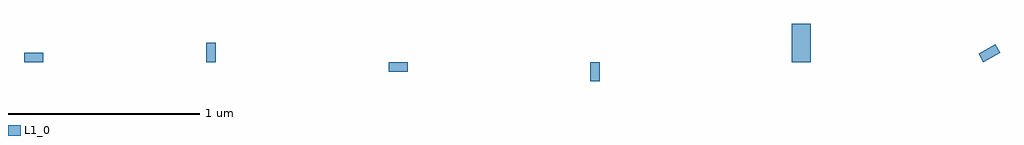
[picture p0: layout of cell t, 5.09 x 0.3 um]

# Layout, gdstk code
from math import pi, radians
import gdstk
lib = gdstk.Library(unit=1e-6, precision=1e-09)
def R(c, l, rs):  # rectangles x0, y0, x1, y1
    for r in rs: c.add(gdstk.rectangle(r[:2], r[2:], *l))
L1_0 = (1, 0)

c_c = lib.new_cell('c')
R(c_c, L1_0, [(0,0,0.1,0.05)])

c_t = lib.new_cell('t')
c_t.add(gdstk.Reference(c_c, (0,0)))
c_t.add(gdstk.Reference(c_c, (1,0), rotation=pi/2))
c_t.add(gdstk.Reference(c_c, (2,0), rotation=pi))
c_t.add(gdstk.Reference(c_c, (3,0), rotation=3*pi/2, x_reflection=True))
c_t.add(gdstk.Reference(c_c, (4,0), rotation=pi/2, magnification=2, x_reflection=True))
c_t.add(gdstk.Reference(c_c, (5,0), rotation=radians(30)))

lib.write_gds('t.gds')
